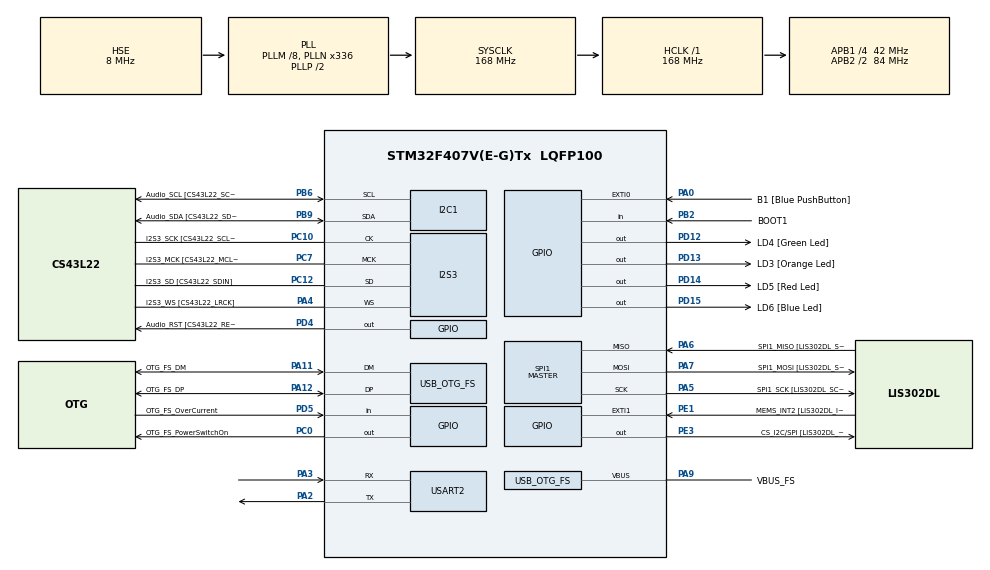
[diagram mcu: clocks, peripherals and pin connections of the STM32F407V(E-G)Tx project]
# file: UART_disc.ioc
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I2S3.AudioFreq-Half_Duplex_Master=I2S_AUDIOFREQ_96K
I2S3.ErrorAudioFreq=-2.34 %
I2S3.ErrorAudioFreq-Half_Duplex_Master=0.8 %
I2S3.FullDuplexMode=I2S_FULLDUPLEXMODE_DISABLE
I2S3.Instance=SPI$Index
I2S3.RealAudioFreq=93.75 KHz
I2S3.RealAudioFreq-Half_Duplex_Master=96.774 KHz
I2S3.VirtualMode=I2S_MODE_MASTER
Mcu.Family=STM32F4
Mcu.Name=STM32F407V(E-G)Tx
Mcu.Package=LQFP100
NVIC.OTG_FS_IRQn=true\:0\:0\:false\:false\:true\:true\:true
NVIC.PriorityGroup=NVIC_PRIORITYGROUP_0
NVIC.USART2_IRQn=true\:0\:0\:false\:false\:true\:true\:true
PA0-WKUP.GPIO_Label=B1 [Blue PushButton]
PA0-WKUP.GPIO_ModeDefaultEXTI=GPIO_MODE_EVT_RISING
PA0-WKUP.GPIO_PuPd=GPIO_NOPULL
PA0-WKUP.Signal=GPXTI0
PA10.GPIO_Label=OTG_FS_ID
PA10.GPIO_Mode=GPIO_MODE_AF_PP
PA10.GPIO_PuPd=GPIO_NOPULL
PA10.GPIO_Speed=GPIO_SPEED_FREQ_LOW
PA10.Signal=USB_OTG_FS_ID
PA11.GPIO_Label=OTG_FS_DM
PA11.GPIO_Mode=GPIO_MODE_AF_PP
PA11.GPIO_PuPd=GPIO_NOPULL
PA11.GPIO_Speed=GPIO_SPEED_FREQ_LOW
PA11.Mode=Host_Only
PA11.Signal=USB_OTG_FS_DM
PA12.GPIO_Label=OTG_FS_DP
PA12.GPIO_Mode=GPIO_MODE_AF_PP
PA12.GPIO_PuPd=GPIO_NOPULL
PA12.GPIO_Speed=GPIO_SPEED_FREQ_LOW
PA12.Mode=Host_Only
PA12.Signal=USB_OTG_FS_DP
PA13.GPIO_Label=SWDIO
PA13.Mode=Serial_Wire
PA13.Signal=SYS_JTMS-SWDIO
PA14.GPIO_Label=SWCLK
PA14.Mode=Serial_Wire
PA14.Signal=SYS_JTCK-SWCLK
PA2.Mode=Asynchronous
PA2.Signal=USART2_TX
PA3.Mode=Asynchronous
PA3.Signal=USART2_RX
PA4.GPIO_Label=I2S3_WS [CS43L22_LRCK]
PA4.GPIO_Mode=GPIO_MODE_AF_PP
PA4.GPIO_PuPd=GPIO_NOPULL
PA4.GPIO_Speed=GPIO_SPEED_FREQ_LOW
PA4.Mode=Half_Duplex_Master
PA4.Signal=I2S3_WS
PA5.GPIO_Label=SPI1_SCK [LIS302DL_SCL/SPC]
PA5.GPIO_Mode=GPIO_MODE_AF_PP
PA5.GPIO_PuPd=GPIO_NOPULL
PA5.GPIO_Speed=GPIO_SPEED_FREQ_LOW
PA5.Mode=Full_Duplex_Master
PA5.Signal=SPI1_SCK
PA6.GPIO_Label=SPI1_MISO [LIS302DL_SDO]
PA6.GPIO_Mode=GPIO_MODE_AF_PP
PA6.GPIO_PuPd=GPIO_NOPULL
PA6.GPIO_Speed=GPIO_SPEED_FREQ_LOW
PA6.Mode=Full_Duplex_Master
PA6.Signal=SPI1_MISO
PA7.GPIO_Label=SPI1_MOSI [LIS302DL_SDA/SDI/SDO]
PA7.GPIO_Mode=GPIO_MODE_AF_PP
PA7.GPIO_PuPd=GPIO_NOPULL
PA7.GPIO_Speed=GPIO_SPEED_FREQ_LOW
PA7.Mode=Full_Duplex_Master
PA7.Signal=SPI1_MOSI
PA9.GPIO_Label=VBUS_FS
PA9.GPIO_Mode=GPIO_MODE_INPUT
PA9.GPIO_PuPd=GPIO_NOPULL
PA9.Mode=Activate_VBUS
PA9.Signal=USB_OTG_FS_VBUS
PB10.GPIO_Label=CLK_IN [MP45DT02_CLK]
PB10.GPIO_Mode=GPIO_MODE_AF_PP
PB10.GPIO_PuPd=GPIO_NOPULL
PB10.GPIO_Speed=GPIO_SPEED_FREQ_LOW
PB10.Signal=I2S2_CK
PB2.GPIO_Label=BOOT1
PB2.GPIO_Mode=GPIO_MODE_INPUT
PB2.GPIO_PuPd=GPIO_NOPULL
PB2.Signal=GPIO_Input
PB3.GPIO_Label=SWO
PB3.Signal=SYS_JTDO-SWO
PB6.GPIO_Label=Audio_SCL [CS43L22_SCL]
PB6.GPIO_Mode=GPIO_MODE_AF_OD
PB6.GPIO_Pu=GPIO_PULLUP
PB6.GPIO_PuPd=GPIO_NOPULL
PB6.GPIO_Speed=GPIO_SPEED_FREQ_LOW
PB6.Mode=I2C
PB6.Signal=I2C1_SCL
PB9.GPIO_Label=Audio_SDA [CS43L22_SDA]
PB9.GPIO_Mode=GPIO_MODE_AF_OD
PB9.GPIO_Pu=GPIO_PULLUP
PB9.GPIO_PuPd=GPIO_NOPULL
PB9.GPIO_Speed=GPIO_SPEED_FREQ_LOW
PB9.Mode=I2C
PB9.Signal=I2C1_SDA
PC0.GPIO_Label=OTG_FS_PowerSwitchOn
PC0.GPIO_PuPd=GPIO_NOPULL
PC0.GPIO_Speed=GPIO_SPEED_FREQ_LOW
PC0.PinState=GPIO_PIN_SET
PC0.Signal=GPIO_Output
PC10.GPIO_Label=I2S3_SCK [CS43L22_SCLK]
PC10.GPIO_Mode=GPIO_MODE_AF_PP
PC10.GPIO_PuPd=GPIO_NOPULL
PC10.GPIO_Speed=GPIO_SPEED_FREQ_LOW
PC10.Mode=Half_Duplex_Master
PC10.Signal=I2S3_CK
PC12.GPIO_Label=I2S3_SD [CS43L22_SDIN]
PC12.GPIO_Mode=GPIO_MODE_AF_PP
PC12.GPIO_PuPd=GPIO_NOPULL
PC12.GPIO_Speed=GPIO_SPEED_FREQ_LOW
PC12.Mode=Half_Duplex_Master
PC12.Signal=I2S3_SD
PC14-OSC32_IN.GPIO_Label=PC14-OSC32_IN
PC14-OSC32_IN.Mode=LSE-External-Oscillator
PC14-OSC32_IN.Signal=RCC_OSC32_IN
PC15-OSC32_OUT.GPIO_Label=PC15-OSC32_OUT
PC15-OSC32_OUT.Mode=LSE-External-Oscillator
PC15-OSC32_OUT.Signal=RCC_OSC32_OUT
PC3.GPIO_Label=PDM_OUT [MP45DT02_DOUT]
PC3.GPIO_Mode=GPIO_MODE_AF_PP
PC3.GPIO_PuPd=GPIO_NOPULL
PC3.GPIO_Speed=GPIO_SPEED_FREQ_LOW
PC3.Signal=I2S2_SD
PC7.GPIO_Label=I2S3_MCK [CS43L22_MCLK]
PC7.GPIO_Mode=GPIO_MODE_AF_PP
PC7.GPIO_PuPd=GPIO_NOPULL
PC7.GPIO_Speed=GPIO_SPEED_FREQ_LOW
PC7.Mode=Master_Clock_Activated
PC7.Signal=I2S3_MCK
PD12.GPIO_Label=LD4 [Green Led]
PD12.GPIO_PuPd=GPIO_NOPULL
PD12.GPIO_Speed=GPIO_SPEED_FREQ_LOW
PD12.Signal=GPIO_Output
PD13.GPIO_Label=LD3 [Orange Led]
PD13.GPIO_PuPd=GPIO_NOPULL
PD13.GPIO_Speed=GPIO_SPEED_FREQ_LOW
PD13.Signal=GPIO_Output
PD14.GPIO_Label=LD5 [Red Led]
PD14.GPIO_PuPd=GPIO_NOPULL
PD14.GPIO_Speed=GPIO_SPEED_FREQ_LOW
PD14.Signal=GPIO_Output
PD15.GPIO_Label=LD6 [Blue Led]
PD15.GPIO_PuPd=GPIO_NOPULL
PD15.GPIO_Speed=GPIO_SPEED_FREQ_LOW
PD15.Signal=GPIO_Output
PD4.GPIO_Label=Audio_RST [CS43L22_RESET]
PD4.GPIO_PuPd=GPIO_NOPULL
PD4.GPIO_Speed=GPIO_SPEED_FREQ_LOW
PD4.Signal=GPIO_Output
PD5.GPIO_Label=OTG_FS_OverCurrent
PD5.GPIO_Mode=GPIO_MODE_INPUT
PD5.GPIO_PuPd=GPIO_NOPULL
PD5.Signal=GPIO_Input
PE1.GPIO_Label=MEMS_INT2 [LIS302DL_INT2]
PE1.GPIO_ModeDefaultEXTI=GPIO_MODE_EVT_RISING
PE1.GPIO_PuPd=GPIO_NOPULL
PE1.Signal=GPXTI1
PE3.GPIO_Label=CS_I2C/SPI [LIS302DL_CS_I2C/SPI]
PE3.GPIO_PuPd=GPIO_NOPULL
PE3.GPIO_Speed=GPIO_SPEED_FREQ_LOW
PE3.Signal=GPIO_Output
PH0-OSC_IN.GPIO_Label=PH0-OSC_IN
PH0-OSC_IN.Mode=HSE-External-Oscillator
PH0-OSC_IN.Signal=RCC_OSC_IN
PH1-OSC_OUT.GPIO_Label=PH1-OSC_OUT
PH1-OSC_OUT.Mode=HSE-External-Oscillator
PH1-OSC_OUT.Signal=RCC_OSC_OUT
ProjectManager.HeapSize=0x200
ProjectManager.StackSize=0x400
ProjectManager.TargetToolchain=STM32CubeIDE
RCC.48MHZClocksFreq_Value=48000000
RCC.AHBFreq_Value=168000000
RCC.APB1CLKDivider=RCC_HCLK_DIV4
RCC.APB1Freq_Value=42000000
RCC.APB1TimFreq_Value=84000000
RCC.APB2CLKDivider=RCC_HCLK_DIV2
RCC.APB2Freq_Value=84000000
RCC.APB2TimFreq_Value=168000000
RCC.CortexFreq_Value=168000000
RCC.HCLKFreq_Value=168000000
RCC.HSE_VALUE=8000000
RCC.HSI_VALUE=16000000
RCC.PLLM=8
RCC.PLLN=336
RCC.PLLQ=7
RCC.SYSCLKFreq_VALUE=168000000
RCC.SYSCLKSource=RCC_SYSCLKSOURCE_PLLCLK
RCC.VCOOutputFreq_Value=336000000
SPI1.BaudRatePrescaler-Full_Duplex_Master=SPI_BAUDRATEPRESCALER_2
SPI1.CalculateBaudRate-Full_Duplex_Master=42.0 MBits/s
SPI1.Direction=SPI_DIRECTION_2LINES
SPI1.Mode=SPI_MODE_MASTER
SPI1.Mode-Full_Duplex_Master=SPI_MODE_MASTER
SPI1.VirtualType=VM_MASTER
USART2.VirtualMode=VM_ASYNC
USB_HOST.BSP.number=1
USB_HOST.USBH_HandleTypeDef-CDC_FS=hUsbHostFS
USB_HOST.VirtualModeFS=Cdc
USB_HOST0.BSP.STBoard=false
USB_HOST0.BSP.api=Unknown
USB_HOST0.BSP.i2caddr=0
USB_HOST0.BSP.i2creg=0
USB_HOST0.BSP.instance=PC0
USB_HOST0.BSP.ip=GPIO
USB_HOST0.BSP.mode=Output
USB_HOST0.BSP.name=Drive_VBUS_FS
USB_HOST0.BSP.solution=PC0
USB_OTG_FS.VirtualMode=Host_Only
USB_OTG_FS.phy_itface=HCD_PHY_EMBEDDED
VP_USB_HOST_VS_USB_HOST_CDC_FS.Mode=CDC_FS
board=STM32F407G-DISC1

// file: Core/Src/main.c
/* USER CODE BEGIN Header */
/**
 ******************************************************************************
 * @file           : main.c
 * @brief          : Main program body
 ******************************************************************************
 * @attention
 *
 * <h2><center>&copy; Copyright (c) 2024 STMicroelectronics.
 * All rights reserved.</center></h2>
 *
 * This software component is licensed by ST under Ultimate Liberty license
 * SLA0044, the "License"; You may not use this file except in compliance with
 * the License. You may obtain a copy of the License at:
 *                             www.st.com/SLA0044
 *
 ******************************************************************************
 */
/* USER CODE END Header */
#include "main.h"
#include "usb_host.h"

/* USER CODE BEGIN Includes */
#include <string.h>
#include <stdlib.h>
#include <stdint.h>
#include <stdio.h>
/* USER CODE END Includes */

I2C_HandleTypeDef hi2c1;

I2S_HandleTypeDef hi2s3;

SPI_HandleTypeDef hspi1;

UART_HandleTypeDef huart2;

/* USER CODE BEGIN PV */
uint8_t UartBuf[6];
uint8_t ret;

char buffer[1024];

/* USER CODE END PV */

void SystemClock_Config(void);
static void MX_GPIO_Init(void);
static void MX_I2C1_Init(void);
static void MX_I2S3_Init(void);
static void MX_SPI1_Init(void);
static void MX_USART2_UART_Init(void);
void MX_USB_HOST_Process(void);

/* USER CODE BEGIN 0 */
void HAL_UART_RxCpltCallback(UART_HandleTypeDef *huart)
{
	/* Prevent unused argument(s) compilation warning */
	UNUSED(huart);
	/* NOTE: This function should not be modified, when the callback is needed,
           the HAL_UART_RxCpltCallback could be implemented in the user file
	 */
	//memset(UartBuf,0,10);
	HAL_UART_Receive_IT(&huart2, UartBuf, 6);
}

void send_uart (char *string)
{
	uint8_t len = strlen(string);
	HAL_UART_Transmit(&huart2, (uint8_t *) string, len, 2000);
}

int bufsize (char *buf)
{
	int i=0;
	while (*buf++ != '\0') i++;
	return i;
}

void bufclear (void)
{
	int i;
	for(i=0; i<1024; i++)
	{
		buffer[i]= '\0';
	}
}
/* USER CODE END 0 */

int main(void)
{

	/* MCU Configuration--------------------------------------------------------*/

	/* Reset of all peripherals, Initializes the Flash interface and the Systick. */
	HAL_Init();

	/* USER CODE BEGIN Init */
	FILE *fsptr;
	char WrDat[]="hello there";
	char RdDat[100];
	/* USER CODE END Init */

	/* Configure the system clock */
	SystemClock_Config();

	/* Initialize all configured peripherals */
	MX_GPIO_Init();
	MX_I2C1_Init();
	MX_I2S3_Init();
	MX_SPI1_Init();
	MX_USB_HOST_Init();
	MX_USART2_UART_Init();
	/* USER CODE BEGIN 2 */
	HAL_UART_Receive_IT(&huart2, UartBuf, 6);
	// Open a file for writing
	fsptr = fopen("example.txt", "w");
	if (fsptr == NULL) {
		printf("Error opening file for writing!\n");
		return 1;
	}

	// Write data to the file
	if (fputs(WrDat, fsptr) == EOF) {
		printf("Error writing to file!\n");
		fclose(fsptr);
		return 1;
	}

	// Close the file
	fclose(fsptr);

	// Open the file for reading
	fsptr = fopen("example.txt", "r");
	if (fsptr == NULL) {
		printf("Error opening file for reading!\n");
		return 1;
	}

	// Read data from the file
	if (fgets(RdDat, sizeof(RdDat), fsptr) == NULL) {
		printf("Error reading from file!\n");
		fclose(fsptr);
		return 1;
	}

	// Close the file
	fclose(fsptr);

	// Print the data read from the file
	printf("Data read from file: %s\n", RdDat);

	/* USER CODE END 2 */

	/* Infinite loop */
	while (1)
	{
		MX_USB_HOST_Process();

		/* USER CODE BEGIN 3 */
		if(!(memcmp(UartBuf,"led on",6)))
		{
			HAL_GPIO_WritePin(GPIOD, GPIO_PIN_12, 1);
		}
		else
		{
			HAL_GPIO_WritePin(GPIOD, GPIO_PIN_12, 0);

		}
	}
	/* USER CODE END 3 */
}

void SystemClock_Config(void)
{
	RCC_OscInitTypeDef RCC_OscInitStruct = {0};
	RCC_ClkInitTypeDef RCC_ClkInitStruct = {0};

	/** Configure the main internal regulator output voltage
	 */
	__HAL_RCC_PWR_CLK_ENABLE();
	__HAL_PWR_VOLTAGESCALING_CONFIG(PWR_REGULATOR_VOLTAGE_SCALE1);
	/** Initializes the RCC Oscillators according to the specified parameters
	 * in the RCC_OscInitTypeDef structure.
	 */
	RCC_OscInitStruct.OscillatorType = RCC_OSCILLATORTYPE_HSE;
	RCC_OscInitStruct.HSEState = RCC_HSE_ON;
	RCC_OscInitStruct.PLL.PLLState = RCC_PLL_ON;
	RCC_OscInitStruct.PLL.PLLSource = RCC_PLLSOURCE_HSE;
	RCC_OscInitStruct.PLL.PLLM = 8;
	RCC_OscInitStruct.PLL.PLLN = 336;
	RCC_OscInitStruct.PLL.PLLP = RCC_PLLP_DIV2;
	RCC_OscInitStruct.PLL.PLLQ = 7;
	if (HAL_RCC_OscConfig(&RCC_OscInitStruct) != HAL_OK)
	{
		Error_Handler();
	}
	/** Initializes the CPU, AHB and APB buses clocks
	 */
	RCC_ClkInitStruct.ClockType = RCC_CLOCKTYPE_HCLK|RCC_CLOCKTYPE_SYSCLK
			|RCC_CLOCKTYPE_PCLK1|RCC_CLOCKTYPE_PCLK2;
	RCC_ClkInitStruct.SYSCLKSource = RCC_SYSCLKSOURCE_PLLCLK;
	RCC_ClkInitStruct.AHBCLKDivider = RCC_SYSCLK_DIV1;
	RCC_ClkInitStruct.APB1CLKDivider = RCC_HCLK_DIV4;
	RCC_ClkInitStruct.APB2CLKDivider = RCC_HCLK_DIV2;

	if (HAL_RCC_ClockConfig(&RCC_ClkInitStruct, FLASH_LATENCY_5) != HAL_OK)
	{
		Error_Handler();
	}
}

static void MX_I2C1_Init(void)
{

	hi2c1.Instance = I2C1;
	hi2c1.Init.ClockSpeed = 100000;
	hi2c1.Init.DutyCycle = I2C_DUTYCYCLE_2;
	hi2c1.Init.OwnAddress1 = 0;
	hi2c1.Init.AddressingMode = I2C_ADDRESSINGMODE_7BIT;
	hi2c1.Init.DualAddressMode = I2C_DUALADDRESS_DISABLE;
	hi2c1.Init.OwnAddress2 = 0;
	hi2c1.Init.GeneralCallMode = I2C_GENERALCALL_DISABLE;
	hi2c1.Init.NoStretchMode = I2C_NOSTRETCH_DISABLE;
	if (HAL_I2C_Init(&hi2c1) != HAL_OK)
	{
		Error_Handler();
	}

}

static void MX_I2S3_Init(void)
{

	hi2s3.Instance = SPI3;
	hi2s3.Init.Mode = I2S_MODE_MASTER_TX;
	hi2s3.Init.Standard = I2S_STANDARD_PHILIPS;
	hi2s3.Init.DataFormat = I2S_DATAFORMAT_16B;
	hi2s3.Init.MCLKOutput = I2S_MCLKOUTPUT_ENABLE;
	hi2s3.Init.AudioFreq = I2S_AUDIOFREQ_96K;
	hi2s3.Init.CPOL = I2S_CPOL_LOW;
	hi2s3.Init.ClockSource = I2S_CLOCK_PLL;
	hi2s3.Init.FullDuplexMode = I2S_FULLDUPLEXMODE_DISABLE;
	if (HAL_I2S_Init(&hi2s3) != HAL_OK)
	{
		Error_Handler();
	}

}

static void MX_SPI1_Init(void)
{

	/* SPI1 parameter configuration*/
	hspi1.Instance = SPI1;
	hspi1.Init.Mode = SPI_MODE_MASTER;
	hspi1.Init.Direction = SPI_DIRECTION_2LINES;
	hspi1.Init.DataSize = SPI_DATASIZE_8BIT;
	hspi1.Init.CLKPolarity = SPI_POLARITY_LOW;
	hspi1.Init.CLKPhase = SPI_PHASE_1EDGE;
	hspi1.Init.NSS = SPI_NSS_SOFT;
	hspi1.Init.BaudRatePrescaler = SPI_BAUDRATEPRESCALER_2;
	hspi1.Init.FirstBit = SPI_FIRSTBIT_MSB;
	hspi1.Init.TIMode = SPI_TIMODE_DISABLE;
	hspi1.Init.CRCCalculation = SPI_CRCCALCULATION_DISABLE;
	hspi1.Init.CRCPolynomial = 10;
	if (HAL_SPI_Init(&hspi1) != HAL_OK)
	{
		Error_Handler();
	}

}

static void MX_USART2_UART_Init(void)
{

	huart2.Instance = USART2;
	huart2.Init.BaudRate = 115200;
	huart2.Init.WordLength = UART_WORDLENGTH_8B;
	huart2.Init.StopBits = UART_STOPBITS_1;
	huart2.Init.Parity = UART_PARITY_NONE;
	huart2.Init.Mode = UART_MODE_TX_RX;
	huart2.Init.HwFlowCtl = UART_HWCONTROL_NONE;
	huart2.Init.OverSampling = UART_OVERSAMPLING_16;
	if (HAL_UART_Init(&huart2) != HAL_OK)
	{
		Error_Handler();
	}

}

static void MX_GPIO_Init(void)
{
	GPIO_InitTypeDef GPIO_InitStruct = {0};

	/* GPIO Ports Clock Enable */
	__HAL_RCC_GPIOE_CLK_ENABLE();
	__HAL_RCC_GPIOC_CLK_ENABLE();
	__HAL_RCC_GPIOH_CLK_ENABLE();
	__HAL_RCC_GPIOA_CLK_ENABLE();
	__HAL_RCC_GPIOB_CLK_ENABLE();
	__HAL_RCC_GPIOD_CLK_ENABLE();

	/*Configure GPIO pin Output Level */
	HAL_GPIO_WritePin(CS_I2C_SPI_GPIO_Port, CS_I2C_SPI_Pin, GPIO_PIN_RESET);

	/*Configure GPIO pin Output Level */
	HAL_GPIO_WritePin(OTG_FS_PowerSwitchOn_GPIO_Port, OTG_FS_PowerSwitchOn_Pin, GPIO_PIN_SET);

	/*Configure GPIO pin Output Level */
	HAL_GPIO_WritePin(GPIOD, LD4_Pin|LD3_Pin|LD5_Pin|LD6_Pin
			|Audio_RST_Pin, GPIO_PIN_RESET);

	/*Configure GPIO pin : CS_I2C_SPI_Pin */
	GPIO_InitStruct.Pin = CS_I2C_SPI_Pin;
	GPIO_InitStruct.Mode = GPIO_MODE_OUTPUT_PP;
	GPIO_InitStruct.Pull = GPIO_NOPULL;
	GPIO_InitStruct.Speed = GPIO_SPEED_FREQ_LOW;
	HAL_GPIO_Init(CS_I2C_SPI_GPIO_Port, &GPIO_InitStruct);

	/*Configure GPIO pin : OTG_FS_PowerSwitchOn_Pin */
	GPIO_InitStruct.Pin = OTG_FS_PowerSwitchOn_Pin;
	GPIO_InitStruct.Mode = GPIO_MODE_OUTPUT_PP;
	GPIO_InitStruct.Pull = GPIO_NOPULL;
	GPIO_InitStruct.Speed = GPIO_SPEED_FREQ_LOW;
	HAL_GPIO_Init(OTG_FS_PowerSwitchOn_GPIO_Port, &GPIO_InitStruct);

	/*Configure GPIO pin : PDM_OUT_Pin */
	GPIO_InitStruct.Pin = PDM_OUT_Pin;
	GPIO_InitStruct.Mode = GPIO_MODE_AF_PP;
	GPIO_InitStruct.Pull = GPIO_NOPULL;
	GPIO_InitStruct.Speed = GPIO_SPEED_FREQ_LOW;
	GPIO_InitStruct.Alternate = GPIO_AF5_SPI2;
	HAL_GPIO_Init(PDM_OUT_GPIO_Port, &GPIO_InitStruct);

	/*Configure GPIO pin : B1_Pin */
	GPIO_InitStruct.Pin = B1_Pin;
	GPIO_InitStruct.Mode = GPIO_MODE_EVT_RISING;
	GPIO_InitStruct.Pull = GPIO_NOPULL;
	HAL_GPIO_Init(B1_GPIO_Port, &GPIO_InitStruct);

	/*Configure GPIO pin : BOOT1_Pin */
	GPIO_InitStruct.Pin = BOOT1_Pin;
	GPIO_InitStruct.Mode = GPIO_MODE_INPUT;
	GPIO_InitStruct.Pull = GPIO_NOPULL;
	HAL_GPIO_Init(BOOT1_GPIO_Port, &GPIO_InitStruct);

	/*Configure GPIO pin : CLK_IN_Pin */
	GPIO_InitStruct.Pin = CLK_IN_Pin;
	GPIO_InitStruct.Mode = GPIO_MODE_AF_PP;
	GPIO_InitStruct.Pull = GPIO_NOPULL;
	GPIO_InitStruct.Speed = GPIO_SPEED_FREQ_LOW;
	GPIO_InitStruct.Alternate = GPIO_AF5_SPI2;
	HAL_GPIO_Init(CLK_IN_GPIO_Port, &GPIO_InitStruct);

	/*Configure GPIO pins : LD4_Pin LD3_Pin LD5_Pin LD6_Pin
                           Audio_RST_Pin */
	GPIO_InitStruct.Pin = LD4_Pin|LD3_Pin|LD5_Pin|LD6_Pin
			|Audio_RST_Pin;
	GPIO_InitStruct.Mode = GPIO_MODE_OUTPUT_PP;
	GPIO_InitStruct.Pull = GPIO_NOPULL;
	GPIO_InitStruct.Speed = GPIO_SPEED_FREQ_LOW;
	HAL_GPIO_Init(GPIOD, &GPIO_InitStruct);

	/*Configure GPIO pin : OTG_FS_OverCurrent_Pin */
	GPIO_InitStruct.Pin = OTG_FS_OverCurrent_Pin;
	GPIO_InitStruct.Mode = GPIO_MODE_INPUT;
	GPIO_InitStruct.Pull = GPIO_NOPULL;
	HAL_GPIO_Init(OTG_FS_OverCurrent_GPIO_Port, &GPIO_InitStruct);

	/*Configure GPIO pin : MEMS_INT2_Pin */
	GPIO_InitStruct.Pin = MEMS_INT2_Pin;
	GPIO_InitStruct.Mode = GPIO_MODE_EVT_RISING;
	GPIO_InitStruct.Pull = GPIO_NOPULL;
	HAL_GPIO_Init(MEMS_INT2_GPIO_Port, &GPIO_InitStruct);

}

void Error_Handler(void)
{
	__disable_irq();
	while (1)
	{
	}
}

/************************ (C) COPYRIGHT STMicroelectronics *****END OF FILE****/
